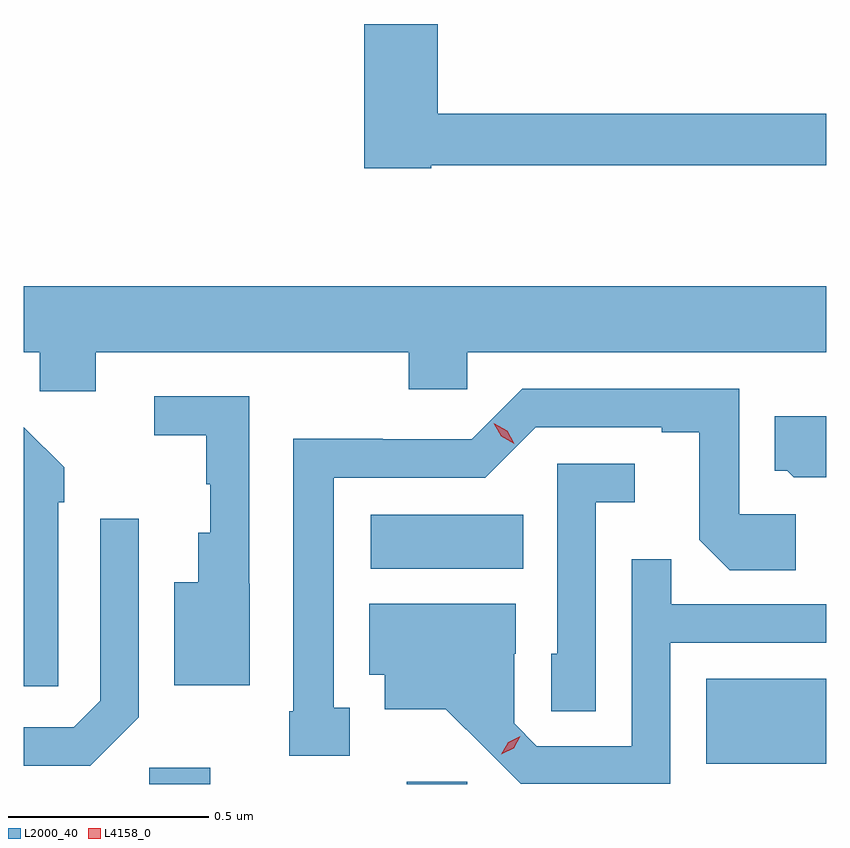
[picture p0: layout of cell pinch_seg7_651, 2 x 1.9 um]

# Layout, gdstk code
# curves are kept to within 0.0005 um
import gdstk
lib = gdstk.Library(unit=1e-6, precision=1e-09)
def R(c, l, rs):  # rectangles x0, y0, x1, y1
    for r in rs: c.add(gdstk.rectangle(r[:2], r[2:], *l))
def P(c, l, *ps):  # polygons
    for p in ps: c.add(gdstk.Polygon(p, *l))
L2000_40 = (2000, 40)
L4158_0 = (4158, 0)

pinch_seg7_651 = lib.new_cell('pinch_seg7_651')
R(pinch_seg7_651, L2000_40, [(167.238,1010.195,167.39,1010.236), (167.879,1010.195,168.03,1010.2), (168.626,1010.246,168.925,1010.458), (167.79,1010.732,168.17,1010.866)])
P(pinch_seg7_651, L2000_40, [(167.94,1011.738),(168.925,1011.738),(168.925,1011.866),(167.957,1011.866),(167.957,1012.09),(167.774,1012.09),(167.774,1011.73),(167.94,1011.73)],
  [(167.104,1011.272),(167.884,1011.272),(167.884,1011.179),(168.03,1011.179),(168.03,1011.272),(168.925,1011.272),(168.925,1011.436),(166.925,1011.436),(166.925,1011.272),(166.965,1011.272),(166.965,1011.174),(167.104,1011.174)],
  [(167.737,1010.385),(167.698,1010.385),(167.698,1010.958),(168.075,1010.958),(168.201,1011.084),(168.515,1011.084),(168.515,1011.072),(168.609,1011.072),(168.609,1010.804),(168.685,1010.728),(168.85,1010.728),(168.85,1010.868),(168.708,1010.868),(168.708,1011.18),(168.168,1011.18),(168.042,1011.054),(167.82,1011.054),(167.82,1011.056),(167.597,1011.056),(167.597,1010.377),(167.587,1010.377),(167.587,1010.265),(167.737,1010.265)],
  [(167.488,1010.694),(167.487,1010.694),(167.487,1011.162),(167.25,1011.162),(167.25,1011.064),(167.379,1011.064),(167.379,1010.943),(167.39,1010.943),(167.39,1010.821),(167.36,1010.821),(167.36,1010.698),(167.3,1010.698),(167.3,1010.441),(167.488,1010.441)],
  [(168.925,1011.112),(168.797,1011.112),(168.797,1010.976),(168.828,1010.976),(168.844,1010.96),(168.925,1010.96)],
  [(167.01,1010.897),(167.025,1010.897),(167.025,1010.985),(166.925,1011.085),(166.925,1010.439),(167.01,1010.439)],
  [(168.351,1010.897),(168.448,1010.897),(168.448,1010.994),(168.255,1010.994),(168.255,1010.52),(168.24,1010.52),(168.24,1010.377),(168.351,1010.377)],
  [(167.211,1010.361),(167.211,1010.857),(167.115,1010.857),(167.115,1010.403),(167.049,1010.337),(166.925,1010.337),(166.925,1010.24),(167.09,1010.24)],
  [(168.537,1010.547),(168.925,1010.547),(168.925,1010.643),(168.539,1010.643),(168.539,1010.756),(168.441,1010.756),(168.441,1010.289),(168.204,1010.289),(168.147,1010.346),(168.147,1010.52),(168.151,1010.52),(168.151,1010.644),(167.786,1010.644),(167.786,1010.468),(167.825,1010.468),(167.825,1010.381),(167.977,1010.381),(168.164,1010.196),(168.537,1010.196)])
P(pinch_seg7_651, L4158_0, [(168.147,1011.044),(168.115,1011.062),(168.097,1011.095),(168.097,1011.095),(168.097,1011.095),(168.13,1011.076),(168.147,1011.044),(168.147,1011.044)],
  [(168.115,1010.269),(168.115,1010.269),(168.132,1010.299),(168.162,1010.314),(168.163,1010.314),(168.163,1010.314),(168.146,1010.284),(168.115,1010.269)])

lib.write_gds('pinch_seg7_651.gds')
